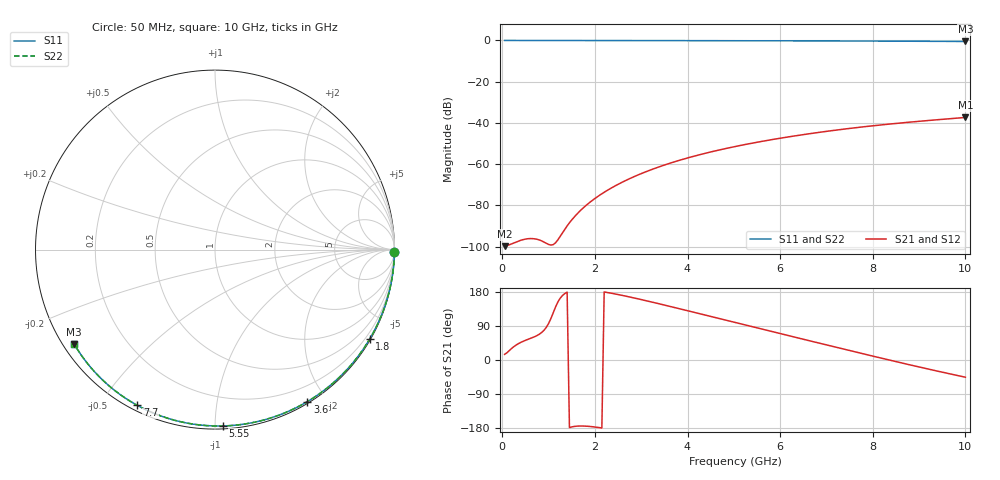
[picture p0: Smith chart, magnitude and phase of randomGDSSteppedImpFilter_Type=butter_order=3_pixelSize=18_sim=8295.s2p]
! freq	dB(S11)	phase(S11)	dB(S12)	phase(S12)
!  dB(S21)	phase(S21)	dB(S22)	phase(S22)
!S-par simulation data
#  GHz  S  DB  R 50
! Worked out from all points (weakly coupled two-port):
!   200 points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, 50 MHz to 10 GHz, reference 50 ohm
!   highest |S21| = -37.33 dB at 10 GHz (marker M1); lowest = -99.7 dB at 50 MHz (marker M2)
!   lowest |S11| = -0.5 dB at 10 GHz (marker M3), VSWR 35.02, Z = 1.56 - j15.2 ohm
!   |S11| at or under -10 dB: nowhere
!   |S22| runs from -0.5 to 0.0 dB; largest |S21 - S12| = 0
!   S11 on the Smith chart (normalised r, x): 50 MHz: open; 1.8 GHz: 0.03, -3.72; 3.6 GHz: 0.02, -1.78; 5.55 GHz: 0.02, -1.05; 7.7 GHz: 0.02, -0.62; 10 GHz: 0.03, -0.30
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0.05  -0.00 -0.9  -99.73 14.9  -99.73 14.9  -0.00 -0.9
0.45  -0.01 -7.6  -96.55 49.3  -96.55 49.3  -0.01 -7.6
0.9  -0.02 -15.2  -97.72 78.3  -97.72 78.3  -0.02 -15.2
1.3  -0.03 -21.9  -93.22 170.2  -93.22 170.2  -0.03 -21.9
1.75  -0.04 -29.3  -81.13 -174.3  -81.13 -174.3  -0.04 -29.3
1.8  -0.04 -30.1  -80.14 -174.5  -80.14 -174.5  -0.04 -30.1
2  -0.04 -33.4  -76.61 -176.8  -76.61 -176.8  -0.04 -33.4
2.15  -0.05 -35.8  -74.31 -179.4  -74.31 -179.4  -0.05 -35.8
2.5  -0.05 -41.5  -69.75 172.8  -69.75 172.8  -0.05 -41.5
2.9  -0.06 -47.8  -65.49 162.3  -65.49 162.3  -0.06 -47.8
3.4  -0.07 -55.6  -61.16 148.0  -61.16 148.0  -0.07 -55.6
3.6  -0.08 -58.7  -59.66 142.1  -59.66 142.1  -0.08 -58.7
3.9  -0.09 -63.3  -57.60 133.1  -57.60 133.1  -0.09 -63.3
4.3  -0.10 -69.3  -55.17 121.0  -55.17 121.0  -0.10 -69.3
5.05  -0.12 -80.3  -51.32 98.2  -51.32 98.2  -0.12 -80.3
5.55  -0.14 -87.4  -49.15 83.2  -49.15 83.2  -0.14 -87.4
6.1  -0.17 -95.1  -47.03 66.7  -47.03 66.7  -0.17 -95.1
6.7  -0.20 -103.3  -44.99 48.8  -44.99 48.8  -0.20 -103.3
7.7  -0.27 -116.5  -42.12 19.1  -42.12 19.1  -0.27 -116.5
8.35  -0.32 -125.0  -40.56 0.1  -40.56 0.1  -0.32 -125.0
9.2  -0.40 -135.9  -38.80 -24.0  -38.80 -24.0  -0.40 -136.0
10  -0.50 -146.2  -37.33 -45.4  -37.33 -45.4  -0.50 -146.2
